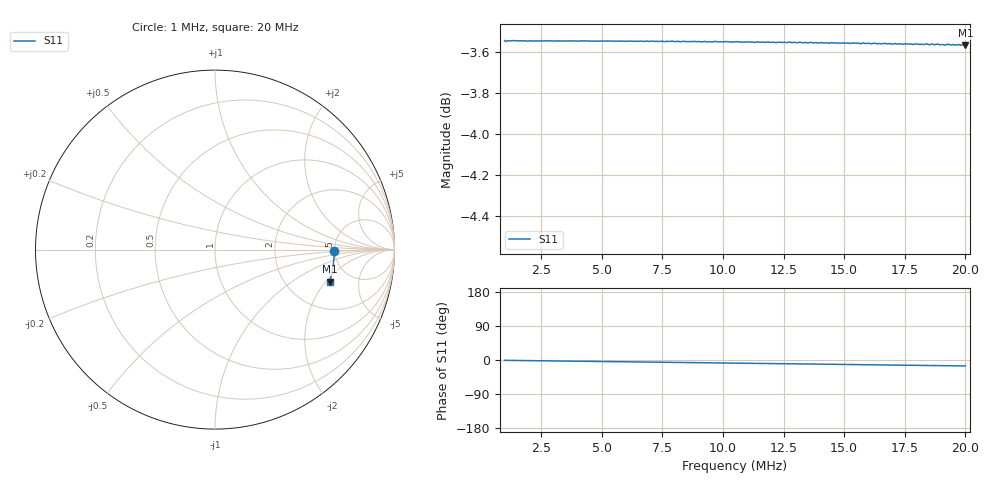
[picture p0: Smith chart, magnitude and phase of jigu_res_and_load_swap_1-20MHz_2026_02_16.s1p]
# HZ S RI R 50
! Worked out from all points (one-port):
!   401 points, 1 MHz to 20 MHz, reference 50 ohm
!   lowest |S11| = -3.6 dB at 20 MHz (marker M1), VSWR 4.94, Z = 172 - j110 ohm
!   |S11| at or under -10 dB: nowhere
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1000000  0.6647 -0.0102
1095000  0.6645 -0.0111
1380000  0.6647 -0.0136
3375000  0.6639 -0.0317
4277500  0.6634 -0.0398
5750000  0.6624 -0.0531
7127500  0.6612 -0.0655
8125000  0.6604 -0.0743
9692500  0.6585 -0.0884
1.05e7  0.6573 -0.0956
1.145e7  0.656 -0.1041
1.2875e7  0.6537 -0.1167
1.34925e7  0.6525 -0.1221
1.45375e7  0.6508 -0.1316
1.525e7  0.6493 -0.1376
1.58675e7  0.648 -0.1432
1.6485e7  0.6468 -0.1486
1.68175e7  0.6461 -0.1514
1.7625e7  0.6442 -0.1586
1.77675e7  0.6439 -0.1598
1.829e7  0.6426 -0.1642
1.85275e7  0.642 -0.1663
1.886e7  0.6415 -0.1693
1.90975e7  0.6407 -0.1714
1.9335e7  0.6402 -0.1734
1.98575e7  0.6388 -0.1777
1.99525e7  0.6386 -0.1788
2e7  0.6384 -0.1791
